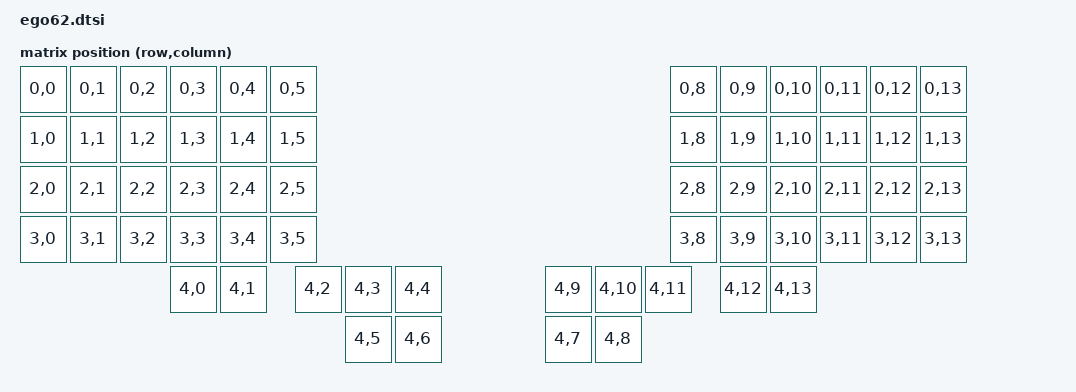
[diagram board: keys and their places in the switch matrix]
/*
 * Copyright (c) 2020 The ZMK Contributors
 *
 * SPDX-License-Identifier: MIT
 */

#include <dt-bindings/zmk/matrix_transform.h>
#include <dt-bindings/gpio/gpio.h>
#include <physical_layouts.dtsi>

/ {
    chosen {
        zmk,physical-layout = <&physical_layout0>;
    };

    physical_layout0: physical_layout_0 {
        compatible = "zmk,physical-layout";
        display-name = "Ego62";
        keys
            = <&key_physical_attrs 100 100    0    0 0 0 0>
            , <&key_physical_attrs 100 100  100    0 0 0 0>
            , <&key_physical_attrs 100 100  200    0 0 0 0>
            , <&key_physical_attrs 100 100  300    0 0 0 0>
            , <&key_physical_attrs 100 100  400    0 0 0 0>
            , <&key_physical_attrs 100 100  500    0 0 0 0>
            , <&key_physical_attrs 100 100 1300    0 0 0 0>
            , <&key_physical_attrs 100 100 1400    0 0 0 0>
            , <&key_physical_attrs 100 100 1500    0 0 0 0>
            , <&key_physical_attrs 100 100 1600    0 0 0 0>
            , <&key_physical_attrs 100 100 1700    0 0 0 0>
            , <&key_physical_attrs 100 100 1800    0 0 0 0>
            , <&key_physical_attrs 100 100    0  100 0 0 0>
            , <&key_physical_attrs 100 100  100  100 0 0 0>
            , <&key_physical_attrs 100 100  200  100 0 0 0>
            , <&key_physical_attrs 100 100  300  100 0 0 0>
            , <&key_physical_attrs 100 100  400  100 0 0 0>
            , <&key_physical_attrs 100 100  500  100 0 0 0>
            , <&key_physical_attrs 100 100 1300  100 0 0 0>
            , <&key_physical_attrs 100 100 1400  100 0 0 0>
            , <&key_physical_attrs 100 100 1500  100 0 0 0>
            , <&key_physical_attrs 100 100 1600  100 0 0 0>
            , <&key_physical_attrs 100 100 1700  100 0 0 0>
            , <&key_physical_attrs 100 100 1800  100 0 0 0>
            , <&key_physical_attrs 100 100    0  200 0 0 0>
            , <&key_physical_attrs 100 100  100  200 0 0 0>
            , <&key_physical_attrs 100 100  200  200 0 0 0>
            , <&key_physical_attrs 100 100  300  200 0 0 0>
            , <&key_physical_attrs 100 100  400  200 0 0 0>
            , <&key_physical_attrs 100 100  500  200 0 0 0>
            , <&key_physical_attrs 100 100 1300  200 0 0 0>
            , <&key_physical_attrs 100 100 1400  200 0 0 0>
            , <&key_physical_attrs 100 100 1500  200 0 0 0>
            , <&key_physical_attrs 100 100 1600  200 0 0 0>
            , <&key_physical_attrs 100 100 1700  200 0 0 0>
            , <&key_physical_attrs 100 100 1800  200 0 0 0>
            , <&key_physical_attrs 100 100    0  300 0 0 0>
            , <&key_physical_attrs 100 100  100  300 0 0 0>
            , <&key_physical_attrs 100 100  200  300 0 0 0>
            , <&key_physical_attrs 100 100  300  300 0 0 0>
            , <&key_physical_attrs 100 100  400  300 0 0 0>
            , <&key_physical_attrs 100 100  500  300 0 0 0>
            , <&key_physical_attrs 100 100 1300  300 0 0 0>
            , <&key_physical_attrs 100 100 1400  300 0 0 0>
            , <&key_physical_attrs 100 100 1500  300 0 0 0>
            , <&key_physical_attrs 100 100 1600  300 0 0 0>
            , <&key_physical_attrs 100 100 1700  300 0 0 0>
            , <&key_physical_attrs 100 100 1800  300 0 0 0>
            , <&key_physical_attrs 100 100  300  400 0 0 0>
            , <&key_physical_attrs 100 100  400  400 0 0 0>
            , <&key_physical_attrs 100 100  550  400 0 0 0>
            , <&key_physical_attrs 100 100  650  400 0 0 0>
            , <&key_physical_attrs 100 100  750  400 0 0 0>
            , <&key_physical_attrs 100 100  650  500 0 0 0>
            , <&key_physical_attrs 100 100  750  500 0 0 0>
            , <&key_physical_attrs 100 100 1050  500 0 0 0>
            , <&key_physical_attrs 100 100 1150  500 0 0 0>
            , <&key_physical_attrs 100 100 1050  400 0 0 0>
            , <&key_physical_attrs 100 100 1150  400 0 0 0>
            , <&key_physical_attrs 100 100 1250  400 0 0 0>
            , <&key_physical_attrs 100 100 1400  400 0 0 0>
            , <&key_physical_attrs 100 100 1500  400 0 0 0>
            ;
    };

    default_transform: matrix_transform {
        compatible = "zmk,matrix-transform";
        columns = <14>;
        rows = <5>;
        map = <
            RC(0,0) RC(0,1) RC(0,2) RC(0,3) RC(0,4) RC(0,5) RC(0,8) RC(0,9) RC(0,10) RC(0,11) RC(0,12) RC(0,13)
            RC(1,0) RC(1,1) RC(1,2) RC(1,3) RC(1,4) RC(1,5) RC(1,8) RC(1,9) RC(1,10) RC(1,11) RC(1,12) RC(1,13)
            RC(2,0) RC(2,1) RC(2,2) RC(2,3) RC(2,4) RC(2,5) RC(2,8) RC(2,9) RC(2,10) RC(2,11) RC(2,12) RC(2,13)
            RC(3,0) RC(3,1) RC(3,2) RC(3,3) RC(3,4) RC(3,5) RC(3,8) RC(3,9) RC(3,10) RC(3,11) RC(3,12) RC(3,13)
            RC(4,0) RC(4,1) RC(4,2) RC(4,3) RC(4,4) RC(4,5) RC(4,6) RC(4,7) RC(4,8) RC(4,9) RC(4,10) RC(4,11) RC(4,12) RC(4,13)
        >;
    };

    kscan0: kscan {
        compatible = "zmk,kscan-gpio-matrix";
        wakeup-source;
        diode-direction = "col2row";
    };
};
